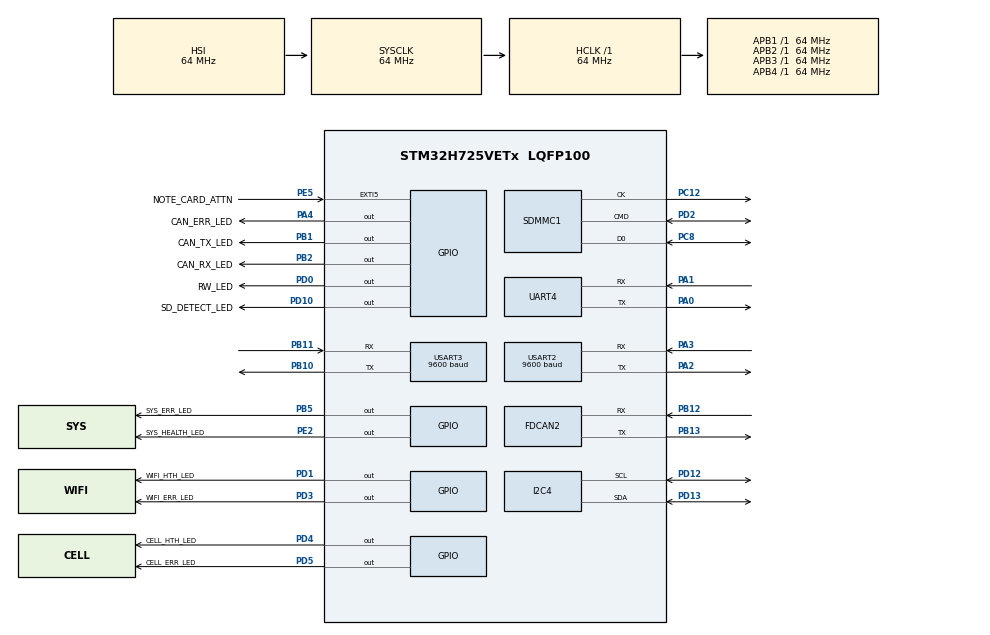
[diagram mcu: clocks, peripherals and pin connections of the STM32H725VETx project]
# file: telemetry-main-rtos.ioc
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CORTEX_M7.default_mode_Activation=1
Dma.Request0=UART4_RX
Dma.Request1=USART3_RX
Dma.Request2=USART2_TX
Dma.UART4_RX.0.Direction=DMA_PERIPH_TO_MEMORY
Dma.UART4_RX.0.EventEnable=DISABLE
Dma.UART4_RX.0.FIFOMode=DMA_FIFOMODE_DISABLE
Dma.UART4_RX.0.Instance=DMA1_Stream0
Dma.UART4_RX.0.MemDataAlignment=DMA_MDATAALIGN_BYTE
Dma.UART4_RX.0.MemInc=DMA_MINC_ENABLE
Dma.UART4_RX.0.Mode=DMA_CIRCULAR
Dma.UART4_RX.0.PeriphDataAlignment=DMA_PDATAALIGN_BYTE
Dma.UART4_RX.0.PeriphInc=DMA_PINC_DISABLE
Dma.UART4_RX.0.Polarity=HAL_DMAMUX_REQ_GEN_RISING
Dma.UART4_RX.0.Priority=DMA_PRIORITY_VERY_HIGH
Dma.UART4_RX.0.RequestNumber=1
Dma.UART4_RX.0.SignalID=NONE
Dma.UART4_RX.0.SyncEnable=DISABLE
Dma.UART4_RX.0.SyncPolarity=HAL_DMAMUX_SYNC_NO_EVENT
Dma.UART4_RX.0.SyncRequestNumber=1
Dma.UART4_RX.0.SyncSignalID=NONE
Dma.USART2_TX.2.Direction=DMA_MEMORY_TO_PERIPH
Dma.USART2_TX.2.EventEnable=DISABLE
Dma.USART2_TX.2.FIFOMode=DMA_FIFOMODE_DISABLE
Dma.USART2_TX.2.Instance=DMA1_Stream2
Dma.USART2_TX.2.MemDataAlignment=DMA_MDATAALIGN_BYTE
Dma.USART2_TX.2.MemInc=DMA_MINC_ENABLE
Dma.USART2_TX.2.Mode=DMA_NORMAL
Dma.USART2_TX.2.PeriphDataAlignment=DMA_PDATAALIGN_BYTE
Dma.USART2_TX.2.PeriphInc=DMA_PINC_DISABLE
Dma.USART2_TX.2.Polarity=HAL_DMAMUX_REQ_GEN_RISING
Dma.USART2_TX.2.Priority=DMA_PRIORITY_LOW
Dma.USART2_TX.2.RequestNumber=1
Dma.USART2_TX.2.SignalID=NONE
Dma.USART2_TX.2.SyncEnable=DISABLE
Dma.USART2_TX.2.SyncPolarity=HAL_DMAMUX_SYNC_NO_EVENT
Dma.USART2_TX.2.SyncRequestNumber=1
Dma.USART2_TX.2.SyncSignalID=NONE
Dma.USART3_RX.1.Direction=DMA_PERIPH_TO_MEMORY
Dma.USART3_RX.1.EventEnable=DISABLE
Dma.USART3_RX.1.FIFOMode=DMA_FIFOMODE_DISABLE
Dma.USART3_RX.1.Instance=DMA1_Stream1
Dma.USART3_RX.1.MemDataAlignment=DMA_MDATAALIGN_BYTE
Dma.USART3_RX.1.MemInc=DMA_MINC_ENABLE
Dma.USART3_RX.1.Mode=DMA_CIRCULAR
Dma.USART3_RX.1.PeriphDataAlignment=DMA_PDATAALIGN_BYTE
Dma.USART3_RX.1.PeriphInc=DMA_PINC_DISABLE
Dma.USART3_RX.1.Polarity=HAL_DMAMUX_REQ_GEN_RISING
Dma.USART3_RX.1.Priority=DMA_PRIORITY_VERY_HIGH
Dma.USART3_RX.1.RequestNumber=1
Dma.USART3_RX.1.SignalID=NONE
Dma.USART3_RX.1.SyncEnable=DISABLE
Dma.USART3_RX.1.SyncPolarity=HAL_DMAMUX_SYNC_NO_EVENT
Dma.USART3_RX.1.SyncRequestNumber=1
Dma.USART3_RX.1.SyncSignalID=NONE
FDCAN2.CalculateBaudRateNominal=500000
FDCAN2.CalculateTimeBitNominal=2000
FDCAN2.CalculateTimeQuantumNominal=125.0
FDCAN2.ExtFiltersNbr=1
FDCAN2.NominalPrescaler=6
FDCAN2.NominalTimeSeg1=13
FDCAN2.NominalTimeSeg2=2
FDCAN2.RxFifo0ElmtsNbr=8
FDCAN2.StdFiltersNbr=1
FDCAN2.TxFifoQueueElmtsNbr=8
FREERTOS.Tasks01=defaultTask,24,128,StartDefaultTask,Default,NULL,Dynamic,NULL,NULL
FREERTOS.configCHECK_FOR_STACK_OVERFLOW=1
FREERTOS.configTOTAL_HEAP_SIZE=61440
FREERTOS.configUSE_NEWLIB_REENTRANT=1
Mcu.Family=STM32H7
Mcu.Name=STM32H725VETx
Mcu.Package=LQFP100
NVIC.DMA1_Stream0_IRQn=true\:5\:0\:false\:false\:true\:true\:false\:true\:true
NVIC.DMA1_Stream1_IRQn=true\:5\:0\:false\:false\:true\:true\:false\:true\:true
NVIC.DMA1_Stream2_IRQn=true\:5\:0\:false\:false\:true\:true\:false\:true\:true
NVIC.EXTI9_5_IRQn=true\:5\:0\:false\:false\:true\:true\:true\:true\:true
NVIC.FDCAN2_IT0_IRQn=true\:5\:0\:false\:false\:true\:true\:true\:true\:true
NVIC.PriorityGroup=NVIC_PRIORITYGROUP_4
NVIC.SDMMC1_IRQn=true\:5\:0\:false\:false\:true\:true\:true\:true\:true
NVIC.TIM1_UP_IRQn=true\:15\:0\:false\:false\:true\:false\:false\:true\:true
NVIC.TimeBase=TIM1_UP_IRQn
NVIC.TimeBaseIP=TIM1
NVIC.UART4_IRQn=true\:5\:0\:false\:false\:true\:true\:true\:true\:true
NVIC.USART2_IRQn=true\:6\:0\:true\:false\:true\:true\:true\:true\:true
NVIC.USART3_IRQn=true\:5\:0\:false\:false\:true\:true\:true\:true\:true
PA0.Mode=Asynchronous
PA0.Signal=UART4_TX
PA1.Mode=Asynchronous
PA1.Signal=UART4_RX
PA13(JTMS/SWDIO).Mode=Trace_Asynchronous_SW
PA13(JTMS/SWDIO).Signal=DEBUG_JTMS-SWDIO
PA14(JTCK/SWCLK).Mode=Trace_Asynchronous_SW
PA14(JTCK/SWCLK).Signal=DEBUG_JTCK-SWCLK
PA2.Mode=Asynchronous
PA2.Signal=USART2_TX
PA3.Mode=Asynchronous
PA3.Signal=USART2_RX
PA4.GPIO_Label=CAN_ERR_LED
PA4.Signal=GPIO_Output
PB1.GPIO_Label=CAN_TX_LED
PB1.Signal=GPIO_Output
PB10.Mode=Asynchronous
PB10.Signal=USART3_TX
PB11.Mode=Asynchronous
PB11.Signal=USART3_RX
PB12.Mode=FDCAN_Activate
PB12.Signal=FDCAN2_RX
PB13.Mode=FDCAN_Activate
PB13.Signal=FDCAN2_TX
PB2.GPIO_Label=CAN_RX_LED
PB2.Signal=GPIO_Output
PB3(JTDO/TRACESWO).Mode=Trace_Asynchronous_SW
PB3(JTDO/TRACESWO).Signal=DEBUG_JTDO-SWO
PB5.GPIO_Label=SYS_ERR_LED
PB5.Signal=GPIO_Output
PC12.Mode=SD_1_bit
PC12.Signal=SDMMC1_CK
PC8.Mode=SD_1_bit
PC8.Signal=SDMMC1_D0
PD0.GPIO_Label=RW_LED
PD0.Signal=GPIO_Output
PD1.GPIO_Label=WIFI_HTH_LED
PD1.Signal=GPIO_Output
PD10.GPIO_Label=SD_DETECT_LED
PD10.Signal=GPIO_Output
PD12.Mode=I2C
PD12.Signal=I2C4_SCL
PD13.Mode=I2C
PD13.Signal=I2C4_SDA
PD2.Mode=SD_1_bit
PD2.Signal=SDMMC1_CMD
PD3.GPIO_Label=WIFI_ERR_LED
PD3.Signal=GPIO_Output
PD4.GPIO_Label=CELL_HTH_LED
PD4.Signal=GPIO_Output
PD5.GPIO_Label=CELL_ERR_LED
PD5.Signal=GPIO_Output
PE2.GPIO_Label=SYS_HEALTH_LED
PE2.Signal=GPIO_Output
PE5.GPIO_Label=NOTE_CARD_ATTN
PE5.Signal=GPXTI5
PH0-OSC_IN.Mode=HSE-External-Oscillator
PH0-OSC_IN.Signal=RCC_OSC_IN
PH1-OSC_OUT.Mode=HSE-External-Oscillator
PH1-OSC_OUT.Signal=RCC_OSC_OUT
ProjectManager.HeapSize=0x200
ProjectManager.StackSize=0x400
ProjectManager.TargetToolchain=STM32CubeIDE
RCC.ADCFreq_Value=100781250
RCC.APB1Freq_Value=64000000
RCC.APB2Freq_Value=64000000
RCC.APB3Freq_Value=64000000
RCC.APB4Freq_Value=64000000
RCC.CortexFreq_Value=64000000
RCC.DIVM1=5
RCC.DIVN1=24
RCC.DIVQ1=5
RCC.HCLKFreq_Value=64000000
RCC.HSE_VALUE=50000000
RCC.PLLFRACN=0
RCC.PLLSourceVirtual=RCC_PLLSOURCE_HSE
RCC.PWR_Regulator_Voltage_Scale=PWR_REGULATOR_VOLTAGE_SCALE1
RCC.SYSCLKFreq_VALUE=64000000
RCC.SupplySource=PWR_LDO_SUPPLY
RCC.USBFreq_Value=48000000
SDMMC1.ClockDiv=248
USART2.BaudRate=9600
USART2.VirtualMode-Asynchronous=VM_ASYNC
USART3.BaudRate=9600
USART3.VirtualMode-Asynchronous=VM_ASYNC
VP_FATFS_VS_SDIO.Mode=SDIO
VP_FREERTOS_VS_CMSIS_V2.Mode=CMSIS_V2
VP_IWDG1_VS_IWDG.Mode=IWDG_Activate
VP_MEMORYMAP_VS_MEMORYMAP.Mode=CurAppReg
VP_SYS_VS_tim1.Mode=TIM1
board=custom

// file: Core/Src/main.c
/* USER CODE BEGIN Header */
/**
 ******************************************************************************
 * @file           : main.c
 * @brief          : Main program body
 ******************************************************************************
 * @attention
 *
 * Copyright (c) 2026 STMicroelectronics.
 * All rights reserved.
 *
 * This software is licensed under terms that can be found in the LICENSE file
 * in the root directory of this software component.
 * If no LICENSE file comes with this software, it is provided AS-IS.
 *
 ******************************************************************************
 */
/* USER CODE END Header */
#include "main.h"
#include "cmsis_os.h"
#include "fatfs.h"

/* USER CODE BEGIN Includes */
#include "uart_logger.h"
#include "wifi.h"
#include "cellular.h"
#include "can_controller.h"
#include "sd_card.h"
#include "watchdog.h"
#include "can_storage.h"
/* USER CODE END Includes */

FDCAN_HandleTypeDef hfdcan2;

I2C_HandleTypeDef hi2c4;

IWDG_HandleTypeDef hiwdg1;

SD_HandleTypeDef hsd1;

UART_HandleTypeDef huart4;
UART_HandleTypeDef huart2;
UART_HandleTypeDef huart3;
DMA_HandleTypeDef hdma_uart4_rx;
DMA_HandleTypeDef hdma_usart2_tx;
DMA_HandleTypeDef hdma_usart3_rx;

/* Definitions for defaultTask */
osThreadId_t defaultTaskHandle;
const osThreadAttr_t defaultTask_attributes = {
  .name = "defaultTask",
  .stack_size = 128 * 4,
  .priority = (osPriority_t) osPriorityNormal,
};

void SystemClock_Config(void);
static void MPU_Config(void);
static void MX_GPIO_Init(void);
static void MX_DMA_Init(void);
static void MX_FDCAN2_Init(void);
static void MX_UART4_Init(void);
static void MX_USART2_UART_Init(void);
static void MX_USART3_UART_Init(void);
static void MX_IWDG1_Init(void);
static void MX_I2C4_Init(void);
static void MX_SDMMC1_SD_Init(void);
void StartDefaultTask(void *argument);

int main(void)
{

  /* MPU Configuration--------------------------------------------------------*/
  MPU_Config();

  /* MCU Configuration--------------------------------------------------------*/

  /* Reset of all peripherals, Initializes the Flash interface and the Systick. */
  HAL_Init();

  /* Configure the system clock */
  SystemClock_Config();

  /* Initialize all configured peripherals */
  MX_GPIO_Init();
  MX_DMA_Init();
  MX_FDCAN2_Init();
  MX_UART4_Init();
  MX_USART2_UART_Init();
  MX_USART3_UART_Init();
  MX_IWDG1_Init();
  MX_I2C4_Init();
  MX_SDMMC1_SD_Init();
  MX_FATFS_Init();
  /* USER CODE BEGIN 2 */
  HAL_GPIO_WritePin(SYS_HEALTH_LED_GPIO_Port, SYS_HEALTH_LED_Pin, GPIO_PIN_SET);
  /* USER CODE END 2 */

  /* Init scheduler */
  osKernelInitialize();

  /* Create the thread(s) */
  /* creation of defaultTask */
  defaultTaskHandle = osThreadNew(StartDefaultTask, NULL, &defaultTask_attributes);

  /* USER CODE BEGIN RTOS_THREADS */
	/* add threads, ... */
	UART_LOGGER_Task_Init();
	WIFI_Task_Init(WIFI_ESP32_UART);
	CELLULAR_Task_Init(CELLULAR_BLUES_UART);
	SDCARD_Task_Init(SDCARD_INSTANCE);
	CAN_CONTROLLER_Task_Init(CAN_CONTROLLER_CAN);
	CAN_STORAGE_Task_Init();
	WATCHDOG_Task_Init(&hiwdg1);
  /* USER CODE END RTOS_THREADS */

  /* Start scheduler */
  osKernelStart();

  /* We should never get here as control is now taken by the scheduler */

  /* Infinite loop */
	while (1) {

	}
}

void SystemClock_Config(void)
{
  RCC_OscInitTypeDef RCC_OscInitStruct = {0};
  RCC_ClkInitTypeDef RCC_ClkInitStruct = {0};

  /** Supply configuration update enable
  */
  HAL_PWREx_ConfigSupply(PWR_LDO_SUPPLY);

  /** Configure the main internal regulator output voltage
  */
  __HAL_PWR_VOLTAGESCALING_CONFIG(PWR_REGULATOR_VOLTAGE_SCALE1);

  while(!__HAL_PWR_GET_FLAG(PWR_FLAG_VOSRDY)) {}

  /** Initializes the RCC Oscillators according to the specified parameters
  * in the RCC_OscInitTypeDef structure.
  */
  RCC_OscInitStruct.OscillatorType = RCC_OSCILLATORTYPE_HSI|RCC_OSCILLATORTYPE_LSI
                              |RCC_OSCILLATORTYPE_HSE;
  RCC_OscInitStruct.HSEState = RCC_HSE_ON;
  RCC_OscInitStruct.HSIState = RCC_HSI_DIV1;
  RCC_OscInitStruct.HSICalibrationValue = 64;
  RCC_OscInitStruct.LSIState = RCC_LSI_ON;
  RCC_OscInitStruct.PLL.PLLState = RCC_PLL_ON;
  RCC_OscInitStruct.PLL.PLLSource = RCC_PLLSOURCE_HSE;
  RCC_OscInitStruct.PLL.PLLM = 5;
  RCC_OscInitStruct.PLL.PLLN = 24;
  RCC_OscInitStruct.PLL.PLLP = 2;
  RCC_OscInitStruct.PLL.PLLQ = 5;
  RCC_OscInitStruct.PLL.PLLR = 2;
  RCC_OscInitStruct.PLL.PLLRGE = RCC_PLL1VCIRANGE_3;
  RCC_OscInitStruct.PLL.PLLVCOSEL = RCC_PLL1VCOWIDE;
  RCC_OscInitStruct.PLL.PLLFRACN = 0;
  if (HAL_RCC_OscConfig(&RCC_OscInitStruct) != HAL_OK)
  {
    Error_Handler();
  }

  /** Initializes the CPU, AHB and APB buses clocks
  */
  RCC_ClkInitStruct.ClockType = RCC_CLOCKTYPE_HCLK|RCC_CLOCKTYPE_SYSCLK
                              |RCC_CLOCKTYPE_PCLK1|RCC_CLOCKTYPE_PCLK2
                              |RCC_CLOCKTYPE_D3PCLK1|RCC_CLOCKTYPE_D1PCLK1;
  RCC_ClkInitStruct.SYSCLKSource = RCC_SYSCLKSOURCE_HSI;
  RCC_ClkInitStruct.SYSCLKDivider = RCC_SYSCLK_DIV1;
  RCC_ClkInitStruct.AHBCLKDivider = RCC_HCLK_DIV1;
  RCC_ClkInitStruct.APB3CLKDivider = RCC_APB3_DIV1;
  RCC_ClkInitStruct.APB1CLKDivider = RCC_APB1_DIV1;
  RCC_ClkInitStruct.APB2CLKDivider = RCC_APB2_DIV1;
  RCC_ClkInitStruct.APB4CLKDivider = RCC_APB4_DIV1;

  if (HAL_RCC_ClockConfig(&RCC_ClkInitStruct, FLASH_LATENCY_0) != HAL_OK)
  {
    Error_Handler();
  }
}

static void MX_FDCAN2_Init(void)
{

  hfdcan2.Instance = FDCAN2;
  hfdcan2.Init.FrameFormat = FDCAN_FRAME_CLASSIC;
  hfdcan2.Init.Mode = FDCAN_MODE_NORMAL;
  hfdcan2.Init.AutoRetransmission = DISABLE;
  hfdcan2.Init.TransmitPause = DISABLE;
  hfdcan2.Init.ProtocolException = DISABLE;
  hfdcan2.Init.NominalPrescaler = 6;
  hfdcan2.Init.NominalSyncJumpWidth = 1;
  hfdcan2.Init.NominalTimeSeg1 = 13;
  hfdcan2.Init.NominalTimeSeg2 = 2;
  hfdcan2.Init.DataPrescaler = 1;
  hfdcan2.Init.DataSyncJumpWidth = 1;
  hfdcan2.Init.DataTimeSeg1 = 1;
  hfdcan2.Init.DataTimeSeg2 = 1;
  hfdcan2.Init.MessageRAMOffset = 0;
  hfdcan2.Init.StdFiltersNbr = 1;
  hfdcan2.Init.ExtFiltersNbr = 1;
  hfdcan2.Init.RxFifo0ElmtsNbr = 8;
  hfdcan2.Init.RxFifo0ElmtSize = FDCAN_DATA_BYTES_8;
  hfdcan2.Init.RxFifo1ElmtsNbr = 0;
  hfdcan2.Init.RxFifo1ElmtSize = FDCAN_DATA_BYTES_8;
  hfdcan2.Init.RxBuffersNbr = 0;
  hfdcan2.Init.RxBufferSize = FDCAN_DATA_BYTES_8;
  hfdcan2.Init.TxEventsNbr = 0;
  hfdcan2.Init.TxBuffersNbr = 0;
  hfdcan2.Init.TxFifoQueueElmtsNbr = 8;
  hfdcan2.Init.TxFifoQueueMode = FDCAN_TX_FIFO_OPERATION;
  hfdcan2.Init.TxElmtSize = FDCAN_DATA_BYTES_8;
  if (HAL_FDCAN_Init(&hfdcan2) != HAL_OK)
  {
    Error_Handler();
  }

}

static void MX_I2C4_Init(void)
{

  hi2c4.Instance = I2C4;
  hi2c4.Init.Timing = 0x10707DBC;
  hi2c4.Init.OwnAddress1 = 0;
  hi2c4.Init.AddressingMode = I2C_ADDRESSINGMODE_7BIT;
  hi2c4.Init.DualAddressMode = I2C_DUALADDRESS_DISABLE;
  hi2c4.Init.OwnAddress2 = 0;
  hi2c4.Init.OwnAddress2Masks = I2C_OA2_NOMASK;
  hi2c4.Init.GeneralCallMode = I2C_GENERALCALL_DISABLE;
  hi2c4.Init.NoStretchMode = I2C_NOSTRETCH_DISABLE;
  if (HAL_I2C_Init(&hi2c4) != HAL_OK)
  {
    Error_Handler();
  }

  /** Configure Analogue filter
  */
  if (HAL_I2CEx_ConfigAnalogFilter(&hi2c4, I2C_ANALOGFILTER_ENABLE) != HAL_OK)
  {
    Error_Handler();
  }

  /** Configure Digital filter
  */
  if (HAL_I2CEx_ConfigDigitalFilter(&hi2c4, 0) != HAL_OK)
  {
    Error_Handler();
  }

}

static void MX_IWDG1_Init(void)
{

  hiwdg1.Instance = IWDG1;
  hiwdg1.Init.Prescaler = IWDG_PRESCALER_4;
  hiwdg1.Init.Window = 4095;
  hiwdg1.Init.Reload = 4095;
  if (HAL_IWDG_Init(&hiwdg1) != HAL_OK)
  {
    Error_Handler();
  }

}

static void MX_SDMMC1_SD_Init(void)
{

  hsd1.Instance = SDMMC1;
  hsd1.Init.ClockEdge = SDMMC_CLOCK_EDGE_RISING;
  hsd1.Init.ClockPowerSave = SDMMC_CLOCK_POWER_SAVE_DISABLE;
  hsd1.Init.BusWide = SDMMC_BUS_WIDE_1B;
  hsd1.Init.HardwareFlowControl = SDMMC_HARDWARE_FLOW_CONTROL_DISABLE;
  hsd1.Init.ClockDiv = 248;

}

static void MX_UART4_Init(void)
{

  huart4.Instance = UART4;
  huart4.Init.BaudRate = 115200;
  huart4.Init.WordLength = UART_WORDLENGTH_8B;
  huart4.Init.StopBits = UART_STOPBITS_1;
  huart4.Init.Parity = UART_PARITY_NONE;
  huart4.Init.Mode = UART_MODE_TX_RX;
  huart4.Init.HwFlowCtl = UART_HWCONTROL_NONE;
  huart4.Init.OverSampling = UART_OVERSAMPLING_16;
  huart4.Init.OneBitSampling = UART_ONE_BIT_SAMPLE_DISABLE;
  huart4.Init.ClockPrescaler = UART_PRESCALER_DIV1;
  huart4.AdvancedInit.AdvFeatureInit = UART_ADVFEATURE_NO_INIT;
  if (HAL_UART_Init(&huart4) != HAL_OK)
  {
    Error_Handler();
  }
  if (HAL_UARTEx_SetTxFifoThreshold(&huart4, UART_TXFIFO_THRESHOLD_1_8) != HAL_OK)
  {
    Error_Handler();
  }
  if (HAL_UARTEx_SetRxFifoThreshold(&huart4, UART_RXFIFO_THRESHOLD_1_8) != HAL_OK)
  {
    Error_Handler();
  }
  if (HAL_UARTEx_DisableFifoMode(&huart4) != HAL_OK)
  {
    Error_Handler();
  }

}

static void MX_USART2_UART_Init(void)
{

  huart2.Instance = USART2;
  huart2.Init.BaudRate = 9600;
  huart2.Init.WordLength = UART_WORDLENGTH_8B;
  huart2.Init.StopBits = UART_STOPBITS_1;
  huart2.Init.Parity = UART_PARITY_NONE;
  huart2.Init.Mode = UART_MODE_TX_RX;
  huart2.Init.HwFlowCtl = UART_HWCONTROL_NONE;
  huart2.Init.OverSampling = UART_OVERSAMPLING_16;
  huart2.Init.OneBitSampling = UART_ONE_BIT_SAMPLE_DISABLE;
  huart2.Init.ClockPrescaler = UART_PRESCALER_DIV1;
  huart2.AdvancedInit.AdvFeatureInit = UART_ADVFEATURE_NO_INIT;
  if (HAL_UART_Init(&huart2) != HAL_OK)
  {
    Error_Handler();
  }
  if (HAL_UARTEx_SetTxFifoThreshold(&huart2, UART_TXFIFO_THRESHOLD_1_8) != HAL_OK)
  {
    Error_Handler();
  }
  if (HAL_UARTEx_SetRxFifoThreshold(&huart2, UART_RXFIFO_THRESHOLD_1_8) != HAL_OK)
  {
    Error_Handler();
  }
  if (HAL_UARTEx_DisableFifoMode(&huart2) != HAL_OK)
  {
    Error_Handler();
  }

}

static void MX_USART3_UART_Init(void)
{

  huart3.Instance = USART3;
  huart3.Init.BaudRate = 9600;
  huart3.Init.WordLength = UART_WORDLENGTH_8B;
  huart3.Init.StopBits = UART_STOPBITS_1;
  huart3.Init.Parity = UART_PARITY_NONE;
  huart3.Init.Mode = UART_MODE_TX_RX;
  huart3.Init.HwFlowCtl = UART_HWCONTROL_NONE;
  huart3.Init.OverSampling = UART_OVERSAMPLING_16;
  huart3.Init.OneBitSampling = UART_ONE_BIT_SAMPLE_DISABLE;
  huart3.Init.ClockPrescaler = UART_PRESCALER_DIV1;
  huart3.AdvancedInit.AdvFeatureInit = UART_ADVFEATURE_NO_INIT;
  if (HAL_UART_Init(&huart3) != HAL_OK)
  {
    Error_Handler();
  }
  if (HAL_UARTEx_SetTxFifoThreshold(&huart3, UART_TXFIFO_THRESHOLD_1_8) != HAL_OK)
  {
    Error_Handler();
  }
  if (HAL_UARTEx_SetRxFifoThreshold(&huart3, UART_RXFIFO_THRESHOLD_1_8) != HAL_OK)
  {
    Error_Handler();
  }
  if (HAL_UARTEx_DisableFifoMode(&huart3) != HAL_OK)
  {
    Error_Handler();
  }

}

static void MX_DMA_Init(void)
{

  /* DMA controller clock enable */
  __HAL_RCC_DMA1_CLK_ENABLE();

  /* DMA interrupt init */
  /* DMA1_Stream0_IRQn interrupt configuration */
  HAL_NVIC_SetPriority(DMA1_Stream0_IRQn, 5, 0);
  HAL_NVIC_EnableIRQ(DMA1_Stream0_IRQn);
  /* DMA1_Stream1_IRQn interrupt configuration */
  HAL_NVIC_SetPriority(DMA1_Stream1_IRQn, 5, 0);
  HAL_NVIC_EnableIRQ(DMA1_Stream1_IRQn);
  /* DMA1_Stream2_IRQn interrupt configuration */
  HAL_NVIC_SetPriority(DMA1_Stream2_IRQn, 5, 0);
  HAL_NVIC_EnableIRQ(DMA1_Stream2_IRQn);

}

static void MX_GPIO_Init(void)
{
  GPIO_InitTypeDef GPIO_InitStruct = {0};

  /* GPIO Ports Clock Enable */
  __HAL_RCC_GPIOE_CLK_ENABLE();
  __HAL_RCC_GPIOH_CLK_ENABLE();
  __HAL_RCC_GPIOA_CLK_ENABLE();
  __HAL_RCC_GPIOB_CLK_ENABLE();
  __HAL_RCC_GPIOD_CLK_ENABLE();
  __HAL_RCC_GPIOC_CLK_ENABLE();

  /*Configure GPIO pin Output Level */
  HAL_GPIO_WritePin(SYS_HEALTH_LED_GPIO_Port, SYS_HEALTH_LED_Pin, GPIO_PIN_RESET);

  /*Configure GPIO pin Output Level */
  HAL_GPIO_WritePin(CAN_ERR_LED_GPIO_Port, CAN_ERR_LED_Pin, GPIO_PIN_RESET);

  /*Configure GPIO pin Output Level */
  HAL_GPIO_WritePin(GPIOB, CAN_TX_LED_Pin|CAN_RX_LED_Pin|SYS_ERR_LED_Pin, GPIO_PIN_RESET);

  /*Configure GPIO pin Output Level */
  HAL_GPIO_WritePin(GPIOD, SD_DETECT_LED_Pin|RW_LED_Pin|WIFI_HTH_LED_Pin|WIFI_ERR_LED_Pin
                          |CELL_HTH_LED_Pin|CELL_ERR_LED_Pin, GPIO_PIN_RESET);

  /*Configure GPIO pin : SYS_HEALTH_LED_Pin */
  GPIO_InitStruct.Pin = SYS_HEALTH_LED_Pin;
  GPIO_InitStruct.Mode = GPIO_MODE_OUTPUT_PP;
  GPIO_InitStruct.Pull = GPIO_NOPULL;
  GPIO_InitStruct.Speed = GPIO_SPEED_FREQ_LOW;
  HAL_GPIO_Init(SYS_HEALTH_LED_GPIO_Port, &GPIO_InitStruct);

  /*Configure GPIO pin : NOTE_CARD_ATTN_Pin */
  GPIO_InitStruct.Pin = NOTE_CARD_ATTN_Pin;
  GPIO_InitStruct.Mode = GPIO_MODE_IT_RISING;
  GPIO_InitStruct.Pull = GPIO_NOPULL;
  HAL_GPIO_Init(NOTE_CARD_ATTN_GPIO_Port, &GPIO_InitStruct);

  /*Configure GPIO pin : CAN_ERR_LED_Pin */
  GPIO_InitStruct.Pin = CAN_ERR_LED_Pin;
  GPIO_InitStruct.Mode = GPIO_MODE_OUTPUT_PP;
  GPIO_InitStruct.Pull = GPIO_NOPULL;
  GPIO_InitStruct.Speed = GPIO_SPEED_FREQ_LOW;
  HAL_GPIO_Init(CAN_ERR_LED_GPIO_Port, &GPIO_InitStruct);

  /*Configure GPIO pins : CAN_TX_LED_Pin CAN_RX_LED_Pin SYS_ERR_LED_Pin */
  GPIO_InitStruct.Pin = CAN_TX_LED_Pin|CAN_RX_LED_Pin|SYS_ERR_LED_Pin;
  GPIO_InitStruct.Mode = GPIO_MODE_OUTPUT_PP;
  GPIO_InitStruct.Pull = GPIO_NOPULL;
  GPIO_InitStruct.Speed = GPIO_SPEED_FREQ_LOW;
  HAL_GPIO_Init(GPIOB, &GPIO_InitStruct);

  /*Configure GPIO pins : SD_DETECT_LED_Pin RW_LED_Pin WIFI_HTH_LED_Pin WIFI_ERR_LED_Pin
                           CELL_HTH_LED_Pin CELL_ERR_LED_Pin */
  GPIO_InitStruct.Pin = SD_DETECT_LED_Pin|RW_LED_Pin|WIFI_HTH_LED_Pin|WIFI_ERR_LED_Pin
                          |CELL_HTH_LED_Pin|CELL_ERR_LED_Pin;
  GPIO_InitStruct.Mode = GPIO_MODE_OUTPUT_PP;
  GPIO_InitStruct.Pull = GPIO_NOPULL;
  GPIO_InitStruct.Speed = GPIO_SPEED_FREQ_LOW;
  HAL_GPIO_Init(GPIOD, &GPIO_InitStruct);

  /* EXTI interrupt init*/
  HAL_NVIC_SetPriority(NOTE_CARD_ATTN_EXTI_IRQn, 5, 0);
  HAL_NVIC_EnableIRQ(NOTE_CARD_ATTN_EXTI_IRQn);

}

/* USER CODE BEGIN 4 */
void HAL_UARTEx_RxEventCallback(UART_HandleTypeDef *huart, uint16_t Size) {
	if (huart->Instance == WIFI_ESP32_UART_INSTANCE) {
		WIFI_esp32_uart_rx_callback(Size);
	} else if (huart->Instance == CELLULAR_BLUES_UART_INSTANCE) {
		CELLULAR_blues_uart_rx_callback(Size);
	}
}

void HAL_GPIO_EXTI_Callback(uint16_t GPIO_Pin) {
	if (GPIO_Pin == CELLULAR_BLUES_ATTN_GPIO_PIN) {
		CELLULAR_ATTN_callback();
	}
}

void HAL_FDCAN_RxFifo0Callback(FDCAN_HandleTypeDef *hfdcan, uint32_t RxFifo0ITs) {
	if (hfdcan->Instance == CAN_CONTROLLER_CAN_INSTANCE) {
		CAN_CONTROLLER_rx_callback(RxFifo0ITs);
	}
}

void HAL_FDCAN_ErrorCallback(FDCAN_HandleTypeDef *hfdcan) {
	if (hfdcan->Instance == CAN_CONTROLLER_CAN_INSTANCE) {
		CAN_CONTROLLER_error_callback();
	}
}

void HAL_FDCAN_TxBufferCompleteCallback(FDCAN_HandleTypeDef *hfdcan,
		uint32_t BufferIndexes) {
	if (hfdcan->Instance == CAN_CONTROLLER_CAN_INSTANCE) {
		CAN_CONTROLLER_tx_callback(BufferIndexes);
	}
}

void HAL_UART_TxCpltCallback(UART_HandleTypeDef *huart) {
#if USE_UART_INTERFACE
	if (huart == UART_LOGGER_INSTANCE) {
			UART_LOGGER_dma_tx_cplt_callback();
	}
#endif

	if (huart == WIFI_ESP32_UART) {
		WIFI_esp32_uart_tx_callback();
	} else if (huart == CELLULAR_BLUES_UART) {
		CELLULAR_blues_uart_tx_callback();
	}
}

void HAL_UART_ErrorCallback(UART_HandleTypeDef *huart) {
	if (huart->Instance == WIFI_ESP32_UART_INSTANCE) {
		WIFI_esp32_uart_error_callback();
	} else if (huart->Instance == CELLULAR_BLUES_UART_INSTANCE) {
		CELLULAR_blues_uart_error_callback();
	}
}
/* USER CODE END 4 */

void StartDefaultTask(void *argument)
{
	for (;;) {
		osDelay(1);
	}
}

 /* MPU Configuration */

void MPU_Config(void)
{
  MPU_Region_InitTypeDef MPU_InitStruct = {0};

  /* Disables the MPU */
  HAL_MPU_Disable();

  /** Initializes and configures the Region and the memory to be protected
  */
  MPU_InitStruct.Enable = MPU_REGION_ENABLE;
  MPU_InitStruct.Number = MPU_REGION_NUMBER0;
  MPU_InitStruct.BaseAddress = 0x0;
  MPU_InitStruct.Size = MPU_REGION_SIZE_4GB;
  MPU_InitStruct.SubRegionDisable = 0x87;
  MPU_InitStruct.TypeExtField = MPU_TEX_LEVEL0;
  MPU_InitStruct.AccessPermission = MPU_REGION_NO_ACCESS;
  MPU_InitStruct.DisableExec = MPU_INSTRUCTION_ACCESS_DISABLE;
  MPU_InitStruct.IsShareable = MPU_ACCESS_SHAREABLE;
  MPU_InitStruct.IsCacheable = MPU_ACCESS_NOT_CACHEABLE;
  MPU_InitStruct.IsBufferable = MPU_ACCESS_NOT_BUFFERABLE;

  HAL_MPU_ConfigRegion(&MPU_InitStruct);
  /* Enables the MPU */
  HAL_MPU_Enable(MPU_PRIVILEGED_DEFAULT);

}

void HAL_TIM_PeriodElapsedCallback(TIM_HandleTypeDef *htim)
{
  if (htim->Instance == TIM1)
  {
    HAL_IncTick();
  }
}

void Error_Handler(void)
{
  /* USER CODE BEGIN Error_Handler_Debug */
	/* User can add his own implementation to report the HAL error return state */
	HAL_GPIO_WritePin(SYS_HEALTH_LED_GPIO_Port, SYS_HEALTH_LED_Pin, GPIO_PIN_RESET);

	HAL_GPIO_WritePin(SYS_ERR_LED_GPIO_Port, SYS_ERR_LED_Pin, GPIO_PIN_SET);

	__disable_irq();
	while (1) {
	}
  /* USER CODE END Error_Handler_Debug */
}
